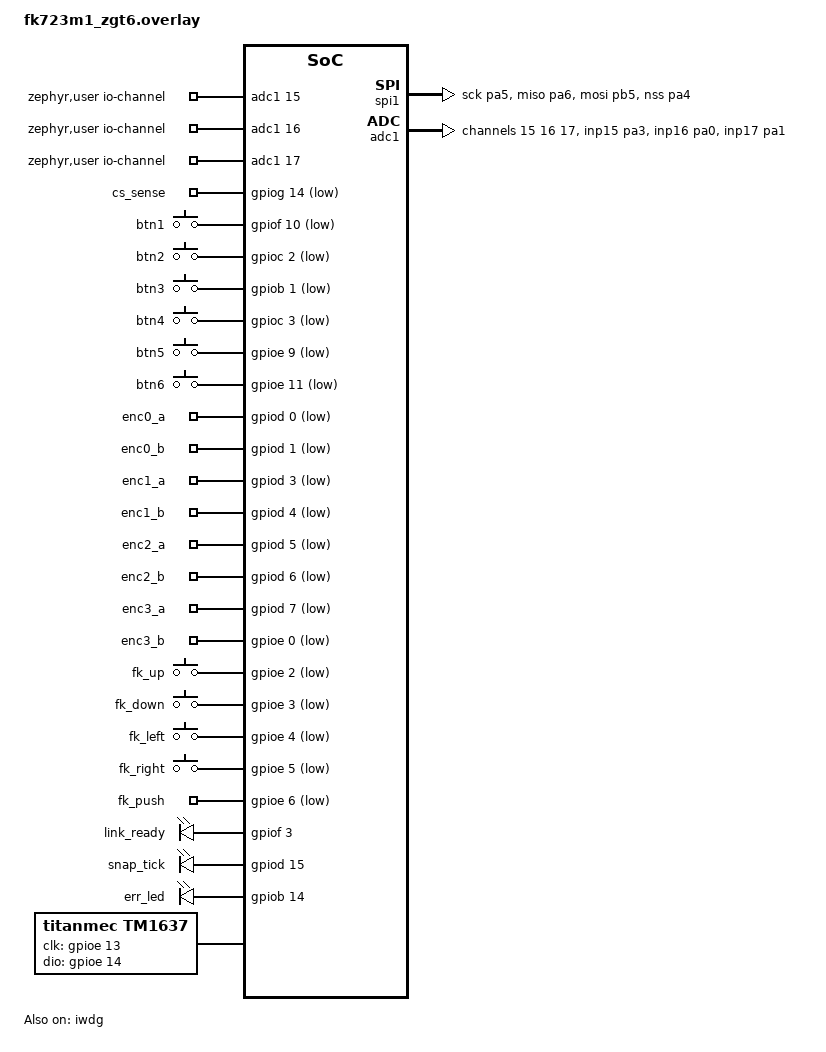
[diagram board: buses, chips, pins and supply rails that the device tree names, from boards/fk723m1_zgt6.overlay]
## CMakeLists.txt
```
#-------------------------------------------------------------------------------
# Rim firmware (DUT) - Zephyr Rim-Link implementation
#
# Copyright (c) 2026 Fanatec Wheel Project Contributors
# SPDX-License-Identifier: Apache-2.0

cmake_minimum_required(VERSION 3.13.1)

list(APPEND BOARD_ROOT ${CMAKE_CURRENT_SOURCE_DIR}/..)

find_package(Zephyr REQUIRED HINTS $ENV{ZEPHYR_BASE})

project(rim_app LANGUAGES C)

target_sources(app PRIVATE
	src/main.c
	src/link_spi.c
	src/input_svc.c
	src/output_svc.c
	src/diag_svc.c
	src/seg7.c
	src/dpad.c
	src/encoder.c
	src/funky.c
	src/clutch.c
	src/rim_settings.c
	src/lcd_svc.c
	src/lra_svc.c
	src/power_mgr.c
	src/rim_wdt.c
	src/health.c
)
target_sources_ifdef(CONFIG_RIM_TM1637 app PRIVATE src/tm1637.c)
target_include_directories(app PRIVATE src)

# Session attribution (spec 2-S3): git hash baked into the build.
execute_process(
	COMMAND git -C ${CMAKE_CURRENT_SOURCE_DIR} rev-parse --short HEAD
	OUTPUT_VARIABLE RIM_GIT_HASH OUTPUT_STRIP_TRAILING_WHITESPACE
	ERROR_QUIET)
if(NOT RIM_GIT_HASH)
	set(RIM_GIT_HASH "nogit")
endif()
execute_process(
	COMMAND git -C ${CMAKE_CURRENT_SOURCE_DIR} status --porcelain
	OUTPUT_VARIABLE RIM_GIT_DIRTY_RAW ERROR_QUIET)
if(RIM_GIT_DIRTY_RAW)
	set(RIM_GIT_HASH "${RIM_GIT_HASH}-dirty")
endif()
configure_file(${CMAKE_CURRENT_SOURCE_DIR}/src/session_info.h.in
	${CMAKE_CURRENT_BINARY_DIR}/generated/session_info.h)
target_include_directories(app PRIVATE ${CMAKE_CURRENT_BINARY_DIR}/generated)
```

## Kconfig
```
# Copyright (c) 2026 Fanatec Wheel Project Contributors
# SPDX-License-Identifier: Apache-2.0
#
# Application Kconfig entry point.

menu "Zephyr"
source "Kconfig.zephyr"
endmenu

module = APP
module-str = APP
source "subsys/logging/Kconfig.template.log_config"

config RIM_TM1637
	bool "Mirror display bytes to a TM1637 module"
	default n
	help
	  Optional display mirror (spec section 7). Requires the
	  TM1637 wired per the hardware spec; decode-to-shell works
	  without it.

config RIM_SHELL
	bool "Rim diagnostic shell"
	default y
	select SHELL
	help
	  Shell commands (rim mosi/miso/disp/btn/id/stats) reproducing the
	  reference sketch's serial command feature (spec section 4).

config RIM_FASTBOOT
	bool "Boot-deadline mode: link-first init, deferred services"
	default y
	help
	  (spec 2-S2): main() initializes only the fast path
	  (adapter seal -> SPI arm -> LINK_READY) and defers input/
	  output/diagnostic service init behind link readiness via the
	  system workqueue. Boot-to-ready is timestamped and reported
	  by the `rim boot` shell command for comparison against the
	  measured base first-poll deadline (>= 2x margin required).

config RIM_WATCHDOG
	bool "Watchdog fed from the input thread"
	select WATCHDOG
	help
	  Arms the hardware watchdog (100 ms) fed exclusively by the
	  input thread's 1 kHz tick (spec 4-S6). Default off on the
	  bench board to keep debugger sessions alive; production
	  builds enable it. Reset cause is captured via hwinfo.
```

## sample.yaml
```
# Twister entry for the rim firmware.
sample:
  description: Rim-side firmware (legacy 33-byte SPI link)
  name: rim-app
common:
  build_only: true
  integration_platforms:
    - fk723m1_zgt6
tests:
  app.rim.default: {}
```

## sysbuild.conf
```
# Verified boot (spec 5-S1): MCUboot chained before the app.
SB_CONFIG_BOOTLOADER_MCUBOOT=y
# ED25519 via MCUboot's bundled tinycrypt: no extra crypto module in
# the manifest. Dev signing key = MCUboot's root-ed25519.pem;
# production key management: docs/update-recovery.md.
SB_CONFIG_BOOT_SIGNATURE_TYPE_ED25519=y
```

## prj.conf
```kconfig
# Copyright (c) 2026 Fanatec Wheel Project Contributors
# SPDX-License-Identifier: Apache-2.0
#
# Rim firmware configuration (spec section 9).

# Rim-Link adapter v1
CONFIG_RIMLINK_LEGACY_SPI=y
CONFIG_RIM_IDENTITY=3

# Link transport: SPI peripheral (slave) mode
CONFIG_SPI=y
CONFIG_SPI_SLAVE=y
# TODO(perf): DMA + non-cacheable link buffers once devicetree
# dmas/dma-names are assigned and re-arm latency is measured (spec s.10)
# CONFIG_SPI_STM32_DMA=y
# CONFIG_NOCACHE_MEMORY=y

# Inputs
CONFIG_GPIO=y
CONFIG_ADC=y

# Settings schema v2 (spec 3-S5): NVS-backed persistence
CONFIG_FLASH=y
CONFIG_FLASH_MAP=y
CONFIG_NVS=y
CONFIG_SETTINGS=y
CONFIG_SETTINGS_NVS=y

# Diagnostics
CONFIG_LOG=y
CONFIG_LOG_MODE_DEFERRED=y   # structural fast-path protection (spec s.3.1)
CONFIG_LOG_DEFAULT_LEVEL=3
CONFIG_LOG_PRINTK=y
CONFIG_SHELL=y

# Instrumentation
CONFIG_TIMING_FUNCTIONS=y

# Race-display LCD (spec 4-S1): LVGL UI, enabled together with a
# `chosen zephyr,display` node in the overlay (PCB rev A):
CONFIG_DISPLAY=y
CONFIG_LVGL=y
CONFIG_LV_FONT_MONTSERRAT_48=y
CONFIG_LV_Z_MEM_POOL_SIZE=32768
# Note: The flash partition map has been expanded to 384 KiB slots.
# Since the full LVGL build is ~420 KiB, you must still prune unused
# LVGL widgets/themes (e.g. CONFIG_LV_USE_THEME_DEFAULT=n) to fit.
CONFIG_LV_USE_THEME_DEFAULT=n

# Reset-cause attribution (spec 4-S6 / health counters)
CONFIG_HWINFO=y
```

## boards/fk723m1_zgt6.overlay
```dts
/*
 * Copyright (c) 2026 Fanatec Wheel Project Contributors
 * SPDX-License-Identifier: Apache-2.0
 *
 * Rim firmware overlay for FK723M1-ZGT6 (STM32H723ZGT6).
 *
 * Pin plan follows the hardware spec section 5.2 (defined
 * against the same STM32H723ZG LQFP144 package): SPI1 on PA4-PA6/PB5,
 * CS-sense EXTI PG14, LINK_READY PF3, SNAPSHOT_TICK PD15, buttons
 * PF10/PC2/PB1/PC3/PE9/PE11, D-pad ADC PA3, TM1637 PE13/PE14.
 * Adjust to the actual bench wiring before bring-up.
 */

/* Legacy rim link: SPI1 peripheral (slave), Mode 1, hardware NSS. */
&spi1 {
	status = "okay";
	pinctrl-0 = <&spi1_sck_pa5 &spi1_miso_pa6
		     &spi1_mosi_pb5 &spi1_nss_pa4>;
	pinctrl-names = "default";
	/* TODO(perf): dmas/dma-names for full-frame DMA (only if measured
	 * re-arm latency needs it, spec s.10) */
};

/* Analog D-pad ladder on PA3 (ADC1 INP15). */
&adc1 {
	pinctrl-0 = <&adc1_inp15_pa3 &adc1_inp16_pa0 &adc1_inp17_pa1>;
	pinctrl-names = "default";
	st,adc-clock-source = "SYNC";
	st,adc-prescaler = <4>;
	status = "okay";

	#address-cells = <1>;
	#size-cells = <0>;

	channel@f {
		reg = <15>;
		zephyr,gain = "ADC_GAIN_1";
		zephyr,reference = "ADC_REF_INTERNAL";
		zephyr,acquisition-time = <ADC_ACQ_TIME_DEFAULT>;
		zephyr,resolution = <12>;
	};

	/* Hall clutch paddles (spec 3-S3): PA0/PA1. */
	channel@10 {
		reg = <16>;
		zephyr,gain = "ADC_GAIN_1";
		zephyr,reference = "ADC_REF_INTERNAL";
		zephyr,acquisition-time = <ADC_ACQ_TIME_DEFAULT>;
		zephyr,resolution = <12>;
	};

	channel@11 {
		reg = <17>;
		zephyr,gain = "ADC_GAIN_1";
		zephyr,reference = "ADC_REF_INTERNAL";
		zephyr,acquisition-time = <ADC_ACQ_TIME_DEFAULT>;
		zephyr,resolution = <12>;
	};
};

/* The board dts places storage on QSPI NOR; the rim keeps all state
 * on internal flash (no external-flash dependency in the boot path). */
/delete-node/ &storage_partition;

/* Flash partitions: MCUboot-ready layout (spec 5-S1/5-S2) +
 * 2-sector NVS settings storage (spec 3-S5).
 * STM32H723ZG: 8 x 128 KiB sectors. */
&flash0 {
	partitions {
		compatible = "fixed-partitions";
		#address-cells = <1>;
		#size-cells = <1>;

		boot_partition: partition@0 {
			label = "mcuboot";
			reg = <0x00000000 DT_SIZE_K(128)>;
		};
		slot0_partition: partition@20000 {
			label = "image-0";
			reg = <0x00020000 DT_SIZE_K(384)>;
		};
		slot1_partition: partition@80000 {
			label = "image-1";
			reg = <0x00080000 DT_SIZE_K(384)>;
		};
		storage_partition: partition@e0000 {
			label = "storage";
			reg = <0x000e0000 DT_SIZE_K(128)>;
		};
	};
};

/ {
	zephyr,user {
		/* 0: D-pad ladder, 1..2: Hall clutch paddles. */
		io-channels = <&adc1 15>, <&adc1 16>, <&adc1 17>;
	};

	rim_pins {
		compatible = "gpio-keys";

		/* CS-sense EXTI: same CS wire, second tap - mirrors the
		 * reference D2+D10 trick; re-arm at rising edge. */
		cs_sense: cs_sense {
			gpios = <&gpiog 14 GPIO_ACTIVE_LOW>;
		};

		/* Six DUT buttons, active-low, internal pull-ups
		 * (hardware spec section 5.2). */
		btn1: btn1 { gpios = <&gpiof 10 (GPIO_ACTIVE_LOW | GPIO_PULL_UP)>; };
		btn2: btn2 { gpios = <&gpioc 2  (GPIO_ACTIVE_LOW | GPIO_PULL_UP)>; };
		btn3: btn3 { gpios = <&gpiob 1  (GPIO_ACTIVE_LOW | GPIO_PULL_UP)>; };
		btn4: btn4 { gpios = <&gpioc 3  (GPIO_ACTIVE_LOW | GPIO_PULL_UP)>; };
		btn5: btn5 { gpios = <&gpioe 9  (GPIO_ACTIVE_LOW | GPIO_PULL_UP)>; };
		btn6: btn6 { gpios = <&gpioe 11 (GPIO_ACTIVE_LOW | GPIO_PULL_UP)>; };

		/* Quadrature encoders (spec 3-S1): 4 channels. */
		enc0_a: enc0_a { gpios = <&gpiod 0 (GPIO_ACTIVE_LOW | GPIO_PULL_UP)>; };
		enc0_b: enc0_b { gpios = <&gpiod 1 (GPIO_ACTIVE_LOW | GPIO_PULL_UP)>; };
		enc1_a: enc1_a { gpios = <&gpiod 3 (GPIO_ACTIVE_LOW | GPIO_PULL_UP)>; };
		enc1_b: enc1_b { gpios = <&gpiod 4 (GPIO_ACTIVE_LOW | GPIO_PULL_UP)>; };
		enc2_a: enc2_a { gpios = <&gpiod 5 (GPIO_ACTIVE_LOW | GPIO_PULL_UP)>; };
		enc2_b: enc2_b { gpios = <&gpiod 6 (GPIO_ACTIVE_LOW | GPIO_PULL_UP)>; };
		enc3_a: enc3_a { gpios = <&gpiod 7 (GPIO_ACTIVE_LOW | GPIO_PULL_UP)>; };
		enc3_b: enc3_b { gpios = <&gpioe 0 (GPIO_ACTIVE_LOW | GPIO_PULL_UP)>; };

		/* Funky switch (spec 3-S2): 4 dirs + push. */
		fk_up: fk_up { gpios = <&gpioe 2 (GPIO_ACTIVE_LOW | GPIO_PULL_UP)>; };
		fk_down: fk_down { gpios = <&gpioe 3 (GPIO_ACTIVE_LOW | GPIO_PULL_UP)>; };
		fk_left: fk_left { gpios = <&gpioe 4 (GPIO_ACTIVE_LOW | GPIO_PULL_UP)>; };
		fk_right: fk_right { gpios = <&gpioe 5 (GPIO_ACTIVE_LOW | GPIO_PULL_UP)>; };
		fk_push: fk_push { gpios = <&gpioe 6 (GPIO_ACTIVE_LOW | GPIO_PULL_UP)>; };
	};

	/* Timing test points + error latch (spec section 10 / LD3). */
	timing_pins {
		compatible = "gpio-leds";
		link_ready: link_ready { gpios = <&gpiof 3 GPIO_ACTIVE_HIGH>; };
		snap_tick: snap_tick { gpios = <&gpiod 15 GPIO_ACTIVE_HIGH>; };
		err_led: err_led { gpios = <&gpiob 14 GPIO_ACTIVE_HIGH>; };
	};

	/* Optional TM1637 display mirror (CONFIG_RIM_TM1637). */
	tm1637: tm1637 {
		compatible = "titanmec,tm1637";
		clk-gpios = <&gpioe 13 GPIO_ACTIVE_HIGH>;
		dio-gpios = <&gpioe 14 GPIO_ACTIVE_HIGH>;
	};
};

&iwdg {
	status = "okay";
};

/* Race-display LCD (spec 4-S1): lcd_svc renders an LVGL race screen
 * when a panel is chosen. */

/ {
	chosen {
		zephyr,display = &lcd0;
	};

	lcd0: dummy_display {
		compatible = "zephyr,dummy-dc";
		width = <320>;
		height = <240>;
	};
};
```

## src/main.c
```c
/*
 * Copyright (c) 2026 Fanatec Wheel Project Contributors
 * SPDX-License-Identifier: Apache-2.0
 *
 * Rim firmware entry point.
 *
 * Boot order (spec fig. 10-1, spec 2-S2): fast path
 * first - adapter frames sealed, SPI armed, LINK_READY raised - then
 * all non-link services. With CONFIG_RIM_FASTBOOT the non-link init
 * is deferred to the system workqueue so main() reaches link
 * readiness with nothing else in front of it.
 */

#include <zephyr/kernel.h>
#include <zephyr/logging/log.h>

#include <app_version.h>

#include <lib/rimlink/rimlink.h>

#include "link_spi.h"
#include "input_svc.h"
#include "output_svc.h"
#include "diag_svc.h"
#include "rim_settings.h"
#include "lcd_svc.h"
#include "lra_svc.h"
#include "power_mgr.h"
#include "rim_wdt.h"
#include "health.h"

LOG_MODULE_REGISTER(main, CONFIG_APP_LOG_LEVEL);

static void services_init(void)
{
	int ret;

	/* Settings load precedes acquisition (cal/map/mode consumers). */
	(void)rim_settings_init();

	ret = rim_wdt_init();
	if (ret < 0) {
		LOG_ERR("watchdog init failed (%d)", ret);
	}

	ret = lcd_svc_init();
	if (ret < 0) {
		LOG_ERR("lcd_svc init failed (%d)", ret);
	}

	ret = lra_svc_init();
	if (ret < 0) {
		LOG_ERR("lra_svc init failed (%d)", ret);
	}

	ret = power_mgr_init();
	if (ret < 0) {
		LOG_ERR("power_mgr init failed (%d)", ret);
	}

	ret = output_svc_init();
	if (ret < 0) {
		LOG_ERR("output_svc init failed (%d)", ret);
	}

	ret = input_svc_init();
	if (ret < 0) {
		LOG_ERR("input_svc init failed (%d)", ret);
	}

	(void)health_init();

	ret = diag_svc_init();
	if (ret < 0) {
		LOG_ERR("diag_svc init failed (%d)", ret);
	}

	LOG_INF("services running");
}

#ifdef CONFIG_RIM_FASTBOOT
static void deferred_init_handler(struct k_work *work)
{
	ARG_UNUSED(work);
	services_init();
}
static K_WORK_DEFINE(deferred_init_work, deferred_init_handler);
#endif

int main(void)
{
	int ret;

	/* 1. Fast path only: adapter sealed, SPI peripheral armed,
	 *    LINK_READY (t1) raised inside link_spi_init(). */
	const struct rimlink_cfg cfg = {
		.rx_cb = output_svc_rx,
	};

	(void)rimlink_init(&cfg);

	ret = link_spi_init();
	if (ret < 0) {
		LOG_ERR("link init failed (%d)", ret);
	}

	printk("Rim-Link firmware %s (identity 0x%02x, fastboot %s)\n",
	       APP_VERSION_STRING, CONFIG_RIM_IDENTITY,
	       IS_ENABLED(CONFIG_RIM_FASTBOOT) ? "on" : "off");

	/* 2. Everything else, behind link readiness. */
#ifdef CONFIG_RIM_FASTBOOT
	k_work_submit(&deferred_init_work);
#else
	services_init();
#endif

	return 0;
}
```

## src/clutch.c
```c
/*
 * Copyright (c) 2026 Fanatec Wheel Project Contributors
 * SPDX-License-Identifier: Apache-2.0
 *
 * Hall clutch pipeline + dual-clutch logic (spec 3-S3 / 3-S4).
 */

#include <zephyr/sys/util.h>

#include "clutch.h"

#define PADDLE_ACTIVE_THR 32 /* 0..255: paddle considered pulled */

void clutch_chan_init(struct clutch_chan *c, const struct clutch_cal *cal)
{
	*c = (struct clutch_chan){0};
	c->cal = *cal;
	c->iir_shift = 2;      /* y += (x-y)/4 */
	c->rate_limit = 64;    /* max out step per 1 ms sample */
	c->rail_lo = 64;       /* raw below = open circuit (12-bit) */
	c->rail_hi = 4030;     /* raw above = short to rail */
}

static uint16_t median3(uint16_t a, uint16_t b, uint16_t c)
{
	uint16_t lo = MIN(a, MIN(b, c));
	uint16_t hi = MAX(a, MAX(b, c));

	return (uint16_t)(a + b + c - lo - hi);
}

uint8_t clutch_chan_feed(struct clutch_chan *c, uint16_t raw)
{
	/* Plausibility: out-of-rail windows (open/short, spec 3-S3). */
	c->diag &= (uint8_t)~(CLUTCH_DIAG_OPEN | CLUTCH_DIAG_SHORT);
	if (raw < c->rail_lo) {
		c->diag |= CLUTCH_DIAG_OPEN;
	} else if (raw > c->rail_hi) {
		c->diag |= CLUTCH_DIAG_SHORT;
	}

	/* Median-of-3 spike rejection. */
	c->med[c->med_i] = raw;
	c->med_i = (uint8_t)((c->med_i + 1U) % 3U);

	uint16_t m = median3(c->med[0], c->med[1], c->med[2]);

	/* IIR low-pass. */
	c->iir = (uint16_t)(c->iir + ((int32_t)m - c->iir) /
			    (1 << c->iir_shift));

	/* Calibration with guard bands (spec 3-S3). */
	uint16_t lo = c->cal.min + c->cal.guard;
	uint16_t hi = (c->cal.max > c->cal.guard) ?
		      (uint16_t)(c->cal.max - c->cal.guard) : 0U;
	uint32_t out255;

	if (hi <= lo) {
		out255 = 0; /* invalid calibration -> safe zero */
	} else if (c->iir <= lo) {
		out255 = 0;
	} else if (c->iir >= hi) {
		out255 = 255;
	} else {
		out255 = ((uint32_t)(c->iir - lo) * 255U) / (hi - lo);
	}

	/* Deadzone. */
	if (out255 <= c->cal.deadzone) {
		out255 = 0;
	}

	/* Rate-of-change plausibility: flag, then slew-limit. */
	int32_t step = (int32_t)out255 - c->out_prev;

	c->diag &= (uint8_t)~CLUTCH_DIAG_RATE;
	if (step > c->rate_limit || step < -(int32_t)c->rate_limit) {
		c->diag |= CLUTCH_DIAG_RATE;
		out255 = (step > 0) ? c->out_prev + c->rate_limit
				    : c->out_prev - c->rate_limit;
	}

	c->out_prev = (uint8_t)out255;
	c->out = (uint8_t)out255;
	return c->out;
}

void dual_clutch_init(struct dual_clutch *d, enum clutch_mode mode,
		      uint8_t bite_point)
{
	*d = (struct dual_clutch){ .mode = mode, .bite_point = bite_point };
}

uint8_t dual_clutch_combine(struct dual_clutch *d, uint8_t c0, uint8_t c1)
{
	switch (d->mode) {
	case CLUTCH_MODE_AXES:
		return c0; /* axes published separately in the snapshot */
	case CLUTCH_MODE_MAPPED:
		return 0;  /* paddles feed buttons via threshold */
	case CLUTCH_MODE_BITE:
	default:
		break;
	}

	bool p0 = c0 > PADDLE_ACTIVE_THR;
	bool p1 = c1 > PADDLE_ACTIVE_THR;

	if (!p0 && !p1) {
		d->launch = false;
		return 0;
	}

	if (p0 != p1) {
		/* Single paddle: direct value; it becomes the master. */
		d->master = p0 ? 0U : 1U;
		d->launch = false;
		return p0 ? c0 : c1;
	}

	/* Both pulled: launch armed - output follows the deeper paddle,
	 * and the master releasing to (or below) the bite point holds
	 * output at the bite point until the second paddle releases. */
	d->launch = true;

	uint8_t master_val = (d->master == 0U) ? c0 : c1;

	return MAX(master_val, d->bite_point);
}
```

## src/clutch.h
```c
/*
 * Copyright (c) 2026 Fanatec Wheel Project Contributors
 * SPDX-License-Identifier: Apache-2.0
 */

#ifndef APP_SRC_CLUTCH_H_
#define APP_SRC_CLUTCH_H_

#include <stdbool.h>
#include <stdint.h>

/**
 * Hall clutch pipeline (spec 3-S3) and dual-clutch logic (3-S4).
 * Per channel: median-of-3 -> IIR -> min/max calibration with guard
 * bands -> deadzone -> 0..255; plausibility checks (rate limit,
 * open/short via out-of-rail windows) raise diag flags.
 */

#define CLUTCH_CHANNELS 2

/* Diag flags (spec 3.1 snapshot.diag). */
#define CLUTCH_DIAG_RATE BIT(0)   /* rate-of-change implausible */
#define CLUTCH_DIAG_OPEN BIT(1)   /* below open-circuit rail window */
#define CLUTCH_DIAG_SHORT BIT(2)  /* above short-to-rail window */

struct clutch_cal {
	uint16_t min;        /* raw at released, plus guard band */
	uint16_t max;        /* raw at fully pulled, minus guard band */
	uint16_t guard;      /* guard band, raw counts */
	uint8_t deadzone;    /* output deadzone, 0..255 domain */
};

struct clutch_chan {
	struct clutch_cal cal;
	uint16_t med[3];     /* median-of-3 window */
	uint8_t med_i;
	uint16_t iir;        /* filtered raw (Q0) */
	uint8_t iir_shift;   /* y += (x - y) >> shift */
	uint8_t out;         /* calibrated 0..255 */
	uint8_t out_prev;
	uint16_t rate_limit; /* max output change per sample */
	uint16_t rail_lo;    /* below = open */
	uint16_t rail_hi;    /* above = short */
	uint8_t diag;        /* CLUTCH_DIAG_* */
};

/** Dual-clutch modes (spec 3-S4), mirroring the public Fanatec paddle
 *  modes surfaced by hid-fanatecff (`Community implementation`). */
enum clutch_mode {
	CLUTCH_MODE_BITE = 0, /* bite-point combined (default) */
	CLUTCH_MODE_AXES,     /* two independent axes */
	CLUTCH_MODE_MAPPED,   /* paddles act as mappable buttons */
};

struct dual_clutch {
	enum clutch_mode mode;
	uint8_t bite_point;  /* 0..255 */
	bool launch;         /* bite-point state machine armed */
	uint8_t master;      /* which paddle went down first */
};

void clutch_chan_init(struct clutch_chan *c, const struct clutch_cal *cal);

/** Feed one raw ADC sample; returns calibrated 0..255 output. */
uint8_t clutch_chan_feed(struct clutch_chan *c, uint16_t raw);

void dual_clutch_init(struct dual_clutch *d, enum clutch_mode mode,
		      uint8_t bite_point);

/**
 * Combine the two calibrated paddles per the active mode
 * (spec 3-S4 semantics, documented in the unit tests):
 *  - BITE: first paddle pulled = master at 100 %; while the second is
 *    also pulled, releasing the master holds output at the bite point;
 *    releasing the second paddle too returns to direct master value.
 *  - AXES: returns paddle 0 (both delivered separately via snapshot).
 *  - MAPPED: analog output 0 (paddles feed buttons via threshold).
 */
uint8_t dual_clutch_combine(struct dual_clutch *d, uint8_t c0, uint8_t c1);

#endif /* APP_SRC_CLUTCH_H_ */
```

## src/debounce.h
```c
/*
 * Copyright (c) 2026 Fanatec Wheel Project Contributors
 * SPDX-License-Identifier: Apache-2.0
 */

#ifndef APP_SRC_DEBOUNCE_H_
#define APP_SRC_DEBOUNCE_H_

#include <stdbool.h>
#include <stdint.h>

/**
 * Per-button 2-sample debounce (spec section 6): the debounced state
 * changes only after two consecutive equal raw samples (2 ms at the
 * 1 kHz tick).
 */
struct debounce {
	bool state; /* debounced state */
	bool prev;  /* previous raw sample */
};

static inline bool debounce_feed(struct debounce *d, bool raw)
{
	if (raw == d->prev && raw != d->state) {
		d->state = raw;
	}
	d->prev = raw;
	return d->state;
}

#endif /* APP_SRC_DEBOUNCE_H_ */
```

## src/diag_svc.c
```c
/*
 * Copyright (c) 2026 Fanatec Wheel Project Contributors
 * SPDX-License-Identifier: Apache-2.0
 *
 * Diagnostics (spec sections 3/4): counters, shell, heartbeat.
 *
 * The shell reproduces the reference sketch's serial-command feature
 * ('i', 'o', 'd', A/B/C + 1..7) as structured commands, sufficient to
 * drive the documented base menu sequences (e.g. toggling bit 22
 * enters the base setup menu; center calibration via 22,6,18/19,...)
 * without physical buttons.
 */

#include <stdlib.h>

#include <zephyr/kernel.h>
#include <zephyr/devicetree.h>
#include <zephyr/drivers/gpio.h>
#include <zephyr/logging/log.h>
#include <zephyr/shell/shell.h>

#include <string.h>

#include <lib/rimlink/rimlink.h>
#include <lib/rimlink/rimlink_capture.h>

#include <app_version.h>
#include "session_info.h"

#include "diag_svc.h"
#include "link_spi.h"
#include "input_svc.h"
#include "rim_settings.h"
#include "health.h"
#include "output_svc.h"

LOG_MODULE_REGISTER(diag_svc, CONFIG_APP_LOG_LEVEL);

/* Session attribution (spec 2-S3): every capture must be attributable
 * to {build, identity, config, base firmware as logged manually}. */
static char session_base_fw[32] = "unset";

static void session_header_emit(void)
{
	LOG_INF("session: fw=%s git=%s id=0x%02x cfg=[fastboot:%d capture:%d "
		"tm1637:%d] base_fw=%s",
		APP_VERSION_STRING, RIM_GIT_HASH, rimlink_identity_get(),
		IS_ENABLED(CONFIG_RIM_FASTBOOT),
		IS_ENABLED(CONFIG_RIMLINK_CAPTURE),
		IS_ENABLED(CONFIG_RIM_TM1637), session_base_fw);
}

/* Heartbeat on the board's user LED (LD1-equivalent). */
#define HB_NODE DT_ALIAS(led0)
#define HAVE_HB DT_NODE_EXISTS(HB_NODE)
#if HAVE_HB
static const struct gpio_dt_spec hb_led = GPIO_DT_SPEC_GET(HB_NODE, gpios);
static void hb_work_handler(struct k_work *work);
static K_WORK_DELAYABLE_DEFINE(hb_work, hb_work_handler);

static void hb_work_handler(struct k_work *work)
{
	ARG_UNUSED(work);
	(void)gpio_pin_toggle_dt(&hb_led);
	k_work_schedule(&hb_work, K_MSEC(500));
}
#endif

#ifdef CONFIG_RIM_SHELL

static void print_frame(const struct shell *sh, const char *tag,
			const uint8_t f[RIMLINK_FRAME_LEN])
{
	shell_fprintf(sh, SHELL_NORMAL, "%s:", tag);
	for (unsigned int i = 0; i < RIMLINK_FRAME_LEN; i++) {
		shell_fprintf(sh, SHELL_NORMAL, "0x%02X ", f[i]);
	}
	shell_fprintf(sh, SHELL_NORMAL, "\n");
}

/* rim mosi - reference 'i': print the last base -> rim frame. */
static int cmd_rim_mosi(const struct shell *sh, size_t argc, char **argv)
{
	uint8_t rx[RIMLINK_FRAME_LEN];

	ARG_UNUSED(argc);
	ARG_UNUSED(argv);
	rimlink_frames_snapshot(NULL, rx);
	print_frame(sh, "MOSI", rx);
	return 0;
}

/* rim miso - reference 'o': print the armed rim -> base frame. */
static int cmd_rim_miso(const struct shell *sh, size_t argc, char **argv)
{
	uint8_t tx[RIMLINK_FRAME_LEN];

	ARG_UNUSED(argc);
	ARG_UNUSED(argv);
	rimlink_frames_snapshot(tx, NULL);
	print_frame(sh, "MISO", tx);
	return 0;
}

/* rim disp - reference 'd': current alphanumeric text. */
static int cmd_rim_disp(const struct shell *sh, size_t argc, char **argv)
{
	char text[16];

	ARG_UNUSED(argc);
	ARG_UNUSED(argv);
	output_svc_disp_text(text);
	shell_print(sh, "disp: \"%s\"", text);
	return 0;
}

/* rim btn set|clr|toggle <bit 1..22> - reference A/B/C + 1..8. */
static int cmd_rim_btn(const struct shell *sh, size_t argc, char **argv)
{
	int bit = atoi(argv[2]);

	if (bit < 1 || bit > RIMLINK_BUTTON_BITS) {
		shell_error(sh, "bit must be 1..%u", RIMLINK_BUTTON_BITS);
		return -EINVAL;
	}
	if (strcmp(argv[1], "set") == 0) {
		input_svc_manual_bit(bit, true);
	} else if (strcmp(argv[1], "clr") == 0) {
		input_svc_manual_bit(bit, false);
	} else if (strcmp(argv[1], "toggle") == 0) {
		input_svc_manual_toggle(bit);
	} else {
		shell_error(sh, "use: rim btn set|clr|toggle <bit>");
		return -EINVAL;
	}
	shell_print(sh, "manual bits: 0x%06X", input_svc_manual_get());
	return 0;
}

/* rim map [idx bit] - runtime button-map reconfiguration. */
static int cmd_rim_map(const struct shell *sh, size_t argc, char **argv)
{
	if (argc == 3) {
		int idx = atoi(argv[1]);
		int bit = atoi(argv[2]);

		if (input_svc_map_set(idx, bit) < 0) {
			shell_error(sh, "idx 0..%d, bit 1..%u",
				    INPUT_NUM_BUTTONS - 1,
				    RIMLINK_BUTTON_BITS);
			return -EINVAL;
		}
	}
	shell_fprintf(sh, SHELL_NORMAL, "button map:");
	for (unsigned int i = 0; i < INPUT_NUM_BUTTONS; i++) {
		shell_fprintf(sh, SHELL_NORMAL, " %u", input_svc_map_get(i));
	}
	shell_fprintf(sh, SHELL_NORMAL, "\n");
	return 0;
}

/* rim id [1..4] */
static int cmd_rim_id(const struct shell *sh, size_t argc, char **argv)
{
	if (argc == 2) {
		int id = atoi(argv[1]);

		if (id < RIM_ID_BMW_GT2 || id > RIM_ID_UNIHUB) {
			shell_error(sh, "id must be 1..4");
			return -EINVAL;
		}
		rimlink_identity_set((enum rim_id)id);
	}
	shell_print(sh, "rim identity: 0x%02x", rimlink_identity_get());
	return 0;
}

/* rim dpad [t1..t7 hyst] */
static int cmd_rim_dpad(const struct shell *sh, size_t argc, char **argv)
{
	if (argc == 9) {
		uint16_t thr[7];

		for (int i = 0; i < 7; i++) {
			thr[i] = (uint16_t)atoi(argv[1 + i]);
		}
		if (input_svc_dpad_cal(thr, (uint16_t)atoi(argv[8])) < 0) {
			shell_error(sh, "thresholds must descend");
			return -EINVAL;
		}
	}
	shell_print(sh, "dpad position: %u", input_svc_dpad_pos());
	return 0;
}


/* rim boot - boot-to-ready measurement (spec 2-S2). */
static int cmd_rim_boot(const struct shell *sh, size_t argc, char **argv)
{
	ARG_UNUSED(argc);
	ARG_UNUSED(argv);

	uint32_t us = link_spi_boot_ready_us();

	if (us == 0) {
		shell_print(sh, "link not yet armed");
	} else {
		shell_print(sh, "boot-to-ready: %u us "
			    "(base first-poll margin: measurement pending)",
			    us);
	}
	return 0;
}

/* rim session [base <string>] - session header (spec 2-S3). */
static int cmd_rim_session(const struct shell *sh, size_t argc, char **argv)
{
	if (argc == 3 && strcmp(argv[1], "base") == 0) {
		strncpy(session_base_fw, argv[2],
			sizeof(session_base_fw) - 1);
		session_base_fw[sizeof(session_base_fw) - 1] = '\0';
	}
	session_header_emit();
	shell_print(sh, "session: fw=%s git=%s id=0x%02x base_fw=%s",
		    APP_VERSION_STRING, RIM_GIT_HASH,
		    rimlink_identity_get(), session_base_fw);
	return 0;
}

#ifdef CONFIG_RIMLINK_CAPTURE
/* rim cap start|stop|freeze|dump|status [auto on|off] (spec 2-S1). */
static int cmd_rim_cap(const struct shell *sh, size_t argc, char **argv)
{
	struct rimlink_cap_status st;

	if (strcmp(argv[1], "start") == 0) {
		rimlink_cap_start();
	} else if (strcmp(argv[1], "stop") == 0) {
		rimlink_cap_stop();
	} else if (strcmp(argv[1], "freeze") == 0) {
		rimlink_cap_freeze();
	} else if (strcmp(argv[1], "auto") == 0 && argc == 3) {
		rimlink_cap_freeze_on_anomaly(strcmp(argv[2], "on") == 0);
	} else if (strcmp(argv[1], "dump") == 0) {
		struct rimlink_cap_entry e;
		uint32_t i = 0;

		/* One line per entry: parseable by ring_diff.py. */
		while (rimlink_cap_read(i, &e) == 0) {
			shell_fprintf(sh, SHELL_NORMAL,
				      "CAP,%u,%u,%s,%u,%u,", i, e.timestamp,
				      (e.dir == RIMLINK_CAP_TX) ? "TX" : "RX",
				      e.crc_ok, e.cs_gap_us);
			for (int b = 0; b < RIMLINK_FRAME_LEN; b++) {
				shell_fprintf(sh, SHELL_NORMAL, "%02X",
					      e.frame[b]);
			}
			shell_fprintf(sh, SHELL_NORMAL, "\n");
			i++;
		}
		shell_print(sh, "CAPEND,%u", i);
		return 0;
	} else if (strcmp(argv[1], "status") != 0) {
		shell_error(sh, "use: rim cap start|stop|freeze|dump|status|auto on|off");
		return -EINVAL;
	}

	rimlink_cap_status_get(&st);
	shell_print(sh, "cap: armed=%d frozen=%d auto-freeze=%d "
		    "recorded=%u depth=%u", st.armed, st.frozen,
		    st.freeze_on_anomaly, st.recorded, st.depth);
	return 0;
}
#endif /* CONFIG_RIMLINK_CAPTURE */


/* rim clutch [mode 0..2] [bite 0..255] - dual-clutch (spec 3-S4). */
static int cmd_rim_clutch(const struct shell *sh, size_t argc, char **argv)
{
	struct rim_settings *st = rim_settings_get();

	if (argc == 3) {
		if (input_svc_clutch_mode_set(
			    (uint8_t)atoi(argv[1]),
			    (uint8_t)atoi(argv[2])) < 0) {
			shell_error(sh, "mode 0..2 (bite/axes/mapped)");
			return -EINVAL;
		}
	}

	struct input_v2_state v2;

	input_svc_v2_state_get(&v2);
	shell_print(sh, "mode=%u bite=%u c0=%u c1=%u combined=%u "
		    "diag=[%02x %02x]", st->clutch_mode, st->bite_point,
		    v2.clutch[0], v2.clutch[1], v2.clutch_combined,
		    v2.clutch_diag[0], v2.clutch_diag[1]);
	return 0;
}

/* rim input - extended v2 fabric state (spec s.3.1). */
static int cmd_rim_input(const struct shell *sh, size_t argc, char **argv)
{
	struct input_v2_state v2;

	ARG_UNUSED(argc);
	ARG_UNUSED(argv);
	input_svc_v2_state_get(&v2);
	shell_print(sh, "enc: %d %d %d %d (illegal %u %u %u %u)",
		    v2.enc_delta[0], v2.enc_delta[1], v2.enc_delta[2],
		    v2.enc_delta[3], v2.enc_illegal[0], v2.enc_illegal[1],
		    v2.enc_illegal[2], v2.enc_illegal[3]);
	shell_print(sh, "funky: dir=%u push=%d faults=%u",
		    v2.funky_dir, v2.funky_push, v2.funky_faults);
	shell_print(sh, "clutch: %u %u combined=%u diag=[%02x %02x]",
		    v2.clutch[0], v2.clutch[1], v2.clutch_combined,
		    v2.clutch_diag[0], v2.clutch_diag[1]);
	return 0;
}

/* rim save cal|map|mode - persist settings (spec 3-S5, diag context). */
static int cmd_rim_save(const struct shell *sh, size_t argc, char **argv)
{
	ARG_UNUSED(argc);

	int ret = rim_settings_commit(argv[1]);

	if (ret == -EACCES) {
		shell_error(sh, "config locked (rim lock off to unlock)");
	} else if (ret != 0) {
		shell_error(sh, "commit failed (%d)", ret);
	} else {
		shell_print(sh, "saved rim/%s", argv[1]);
	}
	return ret;
}


/* rim health - persisted counters (spec 5-S3). */
static int cmd_rim_health(const struct shell *sh, size_t argc, char **argv)
{
	struct health_counters h;

	ARG_UNUSED(argc);
	ARG_UNUSED(argv);
	health_get(&h);
	shell_print(sh, "power_cycles=%u mate=%u txn=%llu err=%llu "
		    "wdt_resets=%u thermal=%u", h.power_cycles,
		    h.mate_events, (unsigned long long)h.txn_total,
		    (unsigned long long)h.err_total, h.wdt_resets,
		    h.thermal_events);
	return 0;
}

/* rim lock on|off|status - config write protect (spec 5-S5). */
static int cmd_rim_lock(const struct shell *sh, size_t argc, char **argv)
{
	struct rim_settings *st = rim_settings_get();

	if (argc == 2 && strcmp(argv[1], "status") != 0) {
		st->locked = (strcmp(argv[1], "on") == 0);
		int ret = rim_settings_commit("lock");

		if (ret != 0) {
			shell_error(sh, "lock persist failed (%d)", ret);
			return ret;
		}
	}
	shell_print(sh, "config lock: %s (cal/map/mode writes %s)",
		    st->locked ? "ON" : "off",
		    st->locked ? "rejected" : "allowed");
	return 0;
}

static int cmd_rim_stats(const struct shell *sh, size_t argc, char **argv)
{
	struct rimlink_stats s;
	struct output_stats o;
	uint32_t p99, max;

	ARG_UNUSED(argc);
	ARG_UNUSED(argv);
	rimlink_stats_get(&s);
	output_svc_stats_get(&o);
	input_svc_latency_get(&p99, &max);

	shell_print(sh, "txn:          %u", s.txn_count);
	shell_print(sh, "crc_err_rx:   %u", s.crc_err_rx);
	shell_print(sh, "short_frame:  %u", s.short_frame);
	shell_print(sh, "rearm_miss:   %u", s.rearm_miss);
	shell_print(sh, "overrun:      %u", s.overrun);
	shell_print(sh, "stale_clear:  %u", s.stale_clear);
	shell_print(sh, "cs_gap us:    min %u max %u",
		    (s.cs_gap_min_us == UINT32_MAX) ? 0 : s.cs_gap_min_us,
		    s.cs_gap_max_us);
	shell_print(sh, "snap lat us:  p99 %u max %u", p99, max);
	shell_print(sh, "leds_last:    0x%04X (%u changes)",
		    o.leds_last, o.leds_changes);
	shell_print(sh, "rumble_last:  %02X %02X (%u changes)",
		    o.rumble_last[0], o.rumble_last[1], o.rumble_changes);
	shell_print(sh, "disp_changes: %u", o.disp_changes);
	return 0;
}

static int cmd_rim_stats_reset(const struct shell *sh, size_t argc,
			       char **argv)
{
	ARG_UNUSED(argc);
	ARG_UNUSED(argv);
	rimlink_stats_reset();
	shell_print(sh, "counters reset");
	return 0;
}

SHELL_STATIC_SUBCMD_SET_CREATE(sub_rim,
	SHELL_CMD(mosi, NULL, "print last base->rim frame ('i')", cmd_rim_mosi),
	SHELL_CMD(miso, NULL, "print armed rim->base frame ('o')", cmd_rim_miso),
	SHELL_CMD(disp, NULL, "current display text ('d')", cmd_rim_disp),
	SHELL_CMD_ARG(btn, NULL, "set|clr|toggle <bit 1..22>", cmd_rim_btn, 3, 0),
	SHELL_CMD_ARG(map, NULL, "[idx bit] show/set button map", cmd_rim_map, 1, 2),
	SHELL_CMD_ARG(id, NULL, "[1..4] get/set rim identity", cmd_rim_id, 1, 1),
	SHELL_CMD_ARG(dpad, NULL, "[t1..t7 hyst] dpad cal/status", cmd_rim_dpad, 1, 8),
	SHELL_CMD_ARG(clutch, NULL, "[mode bite] dual-clutch", cmd_rim_clutch, 1, 2),
	SHELL_CMD(input, NULL, "v2 fabric state", cmd_rim_input),
	SHELL_CMD_ARG(save, NULL, "cal|map|mode persist settings", cmd_rim_save, 2, 0),
	SHELL_CMD(health, NULL, "persisted health counters", cmd_rim_health),
	SHELL_CMD_ARG(lock, NULL, "on|off|status config lock", cmd_rim_lock, 1, 1),
	SHELL_CMD(boot, NULL, "boot-to-ready measurement", cmd_rim_boot),
	SHELL_CMD_ARG(session, NULL, "[base <str>] session header", cmd_rim_session, 1, 2),
#ifdef CONFIG_RIMLINK_CAPTURE
	SHELL_CMD_ARG(cap, NULL, "start|stop|freeze|dump|status|auto", cmd_rim_cap, 2, 1),
#endif
	SHELL_CMD(stats, NULL, "link statistics", cmd_rim_stats),
	SHELL_CMD(reset, NULL, "reset counters", cmd_rim_stats_reset),
	SHELL_SUBCMD_SET_END
);
SHELL_CMD_REGISTER(rim, &sub_rim, "Rim-link diagnostics", NULL);

#endif /* CONFIG_RIM_SHELL */

int diag_svc_init(void)
{
#if HAVE_HB
	if (gpio_is_ready_dt(&hb_led)) {
		(void)gpio_pin_configure_dt(&hb_led, GPIO_OUTPUT_INACTIVE);
		k_work_schedule(&hb_work, K_MSEC(500));
	}
#endif
	session_header_emit();
	LOG_INF("diagnostics ready");
	return 0;
}
```

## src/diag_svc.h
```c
/*
 * Copyright (c) 2026 Fanatec Wheel Project Contributors
 * SPDX-License-Identifier: Apache-2.0
 */

#ifndef APP_SRC_DIAG_SVC_H_
#define APP_SRC_DIAG_SVC_H_

/**
 * @brief Diagnostics: counters, shell, timing test points.
 *
 * Spec sections 3 and 4: shell commands `rim mosi`, `rim miso`,
 * `rim disp`, `rim btn set/clr <bit>`, `rim id <n>`, `rim stats` -
 * reproducing the reference serial-command feature so base menu
 * sequences can be exercised without physical buttons.
 */

int diag_svc_init(void);

#endif /* APP_SRC_DIAG_SVC_H_ */
```

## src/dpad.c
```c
/*
 * Copyright (c) 2026 Fanatec Wheel Project Contributors
 * SPDX-License-Identifier: Apache-2.0
 *
 * Analog D-pad ladder decode with hysteresis (spec section 6),
 * ported from the reference sketch's readButtons()/dPadBitChange().
 */

#include <string.h>

#include <lib/rimlink/rimlink.h>

#include "dpad.h"

/*
 * Default calibration: the reference 10-bit / 5 V thresholds
 * {933, 763, 639, 505, 299, 164, 72} scaled x4 to the 12-bit DUT ADC.
 * The bench-measured ladder values replace these via `rim dpad cal`
 * (hardware spec section 5.2 note).
 */
static const uint16_t default_thr[DPAD_THRESHOLDS] = {
	3732, 3052, 2556, 2020, 1196, 656, 288
};

#define DPAD_DEFAULT_HYST 40 /* raw counts */

void dpad_init(struct dpad_decoder *d, const uint16_t *thr, uint16_t hyst)
{
	memcpy(d->thr, (thr != NULL) ? thr : default_thr, sizeof(d->thr));
	d->hyst = (hyst != 0U) ? hyst : DPAD_DEFAULT_HYST;
	d->cur = 0;
}

static uint8_t window_of(const struct dpad_decoder *d, uint16_t raw)
{
	for (uint8_t i = 0; i < DPAD_THRESHOLDS; i++) {
		if (raw > d->thr[i]) {
			return i;
		}
	}
	return DPAD_THRESHOLDS; /* position 7: D-pad button */
}

uint8_t dpad_decode(struct dpad_decoder *d, uint16_t raw)
{
	uint8_t next = window_of(d, raw);

	if (next == d->cur) {
		return d->cur;
	}

	/* Hysteresis: only leave the current window when the sample
	 * clears the boundary between cur and next by more than hyst. */
	uint8_t boundary = (next > d->cur) ? d->cur : next;
	uint16_t thr = d->thr[boundary];
	uint16_t dist = (raw > thr) ? (uint16_t)(raw - thr)
				    : (uint16_t)(thr - raw);

	if (dist > d->hyst) {
		d->cur = next;
	}

	return d->cur;
}

void dpad_apply_bits(uint32_t *buttons, uint8_t pos, bool on)
{
	switch (pos) {
	case 0: /* idle */
		break;
	case 1: /* right */
		rimlink_button_bit_change(buttons, RIM_BIT_DPAD_RIGHT, on);
		break;
	case 2: /* left */
		rimlink_button_bit_change(buttons, RIM_BIT_DPAD_LEFT, on);
		break;
	case 3: /* left+right: calibrate wheel center */
		rimlink_button_bit_change(buttons, RIM_BIT_DPAD_BUTTON, on);
		rimlink_button_bit_change(buttons, RIM_BIT_JOYSTICK_BUTTON, on);
		break;
	case 4: /* down */
		rimlink_button_bit_change(buttons, RIM_BIT_DPAD_DOWN, on);
		break;
	case 5: /* up */
		rimlink_button_bit_change(buttons, RIM_BIT_DPAD_UP, on);
		break;
	case 6: /* up+down: menu */
		rimlink_button_bit_change(buttons, RIM_BIT_MENU, on);
		break;
	case 7: /* D-pad button */
		rimlink_button_bit_change(buttons, RIM_BIT_DPAD_BUTTON, on);
		break;
	default:
		break;
	}
}
```

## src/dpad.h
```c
/*
 * Copyright (c) 2026 Fanatec Wheel Project Contributors
 * SPDX-License-Identifier: Apache-2.0
 */

#ifndef APP_SRC_DPAD_H_
#define APP_SRC_DPAD_H_

#include <stdbool.h>
#include <stdint.h>

/**
 * Analog D-pad ladder decode (reference readButtons() analog section):
 * seven descending thresholds partition the ADC range into eight
 * positions:
 *   0 idle, 1 right, 2 left, 3 left+right (center-cal), 4 down,
 *   5 up, 6 up+down (menu), 7 D-pad button.
 */
#define DPAD_POSITIONS 8
#define DPAD_THRESHOLDS 7

struct dpad_decoder {
	/* Descending thresholds, raw ADC counts (calibration table). */
	uint16_t thr[DPAD_THRESHOLDS];
	/* Hysteresis band around each threshold, raw counts. */
	uint16_t hyst;
	uint8_t cur; /* current decoded position */
};

/** Initialize with a calibration table (or NULL for defaults) */
void dpad_init(struct dpad_decoder *d, const uint16_t *thr, uint16_t hyst);

/**
 * Feed one raw sample; returns the (possibly unchanged) position.
 * Position changes only when the sample clears the boundary by more
 * than the hysteresis band - readings inside a band keep the previous
 * position (spec section 6: "windows with hysteresis").
 */
uint8_t dpad_decode(struct dpad_decoder *d, uint16_t raw);

/**
 * Map a D-pad position to logical button-bit changes (reference
 * dPadBitChange()): applies @p on to the bits belonging to @p pos in
 * @p buttons.
 */
void dpad_apply_bits(uint32_t *buttons, uint8_t pos, bool on);

#endif /* APP_SRC_DPAD_H_ */
```

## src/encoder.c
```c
/*
 * Copyright (c) 2026 Fanatec Wheel Project Contributors
 * SPDX-License-Identifier: Apache-2.0
 *
 * Quadrature transition-table decoder (spec 3-S1).
 *
 * Index = (prev_ab << 2) | ab. Values: +1/-1 valid quarter steps,
 * 0 no movement, +2 sentinel for illegal double transitions (both
 * lines changed in one sample - counted per channel, never counted
 * as movement; zero-loss at maximum hand rate is bounded by the
 * 1 kHz sample rate >> hand-detent rate).
 */

#include "encoder.h"

#define ILLEGAL 2

/* CW = Gray sequence 00 -> 01 -> 11 -> 10 -> 00 counts positive. */
static const int8_t transition[16] = {
	 0, +1, -1, ILLEGAL,
	-1,  0, ILLEGAL, +1,
	+1, ILLEGAL,  0, -1,
	ILLEGAL, -1, +1,  0,
};

void encoder_init(struct encoder *e, uint8_t ab, uint8_t detent_div)
{
	e->prev_ab = ab & 3U;
	e->accum = 0;
	e->delta = 0;
	e->illegal = 0;
	e->detent_div = (detent_div == 0U) ? 4U : detent_div;
}

void encoder_feed(struct encoder *e, uint8_t ab)
{
	int8_t step = transition[((e->prev_ab & 3U) << 2) | (ab & 3U)];

	e->prev_ab = ab & 3U;

	if (step == ILLEGAL) {
		e->illegal++;
		return;
	}

	e->accum += step;

	/* One detent = detent_div quarter steps. */
	while (e->accum >= e->detent_div) {
		e->accum -= e->detent_div;
		if (e->delta < INT8_MAX) {
			e->delta++;
		}
	}
	while (e->accum <= -(int16_t)e->detent_div) {
		e->accum += e->detent_div;
		if (e->delta > INT8_MIN) {
			e->delta--;
		}
	}
}

int8_t encoder_consume(struct encoder *e)
{
	int8_t d = (int8_t)e->delta;

	e->delta = 0;
	return d;
}
```

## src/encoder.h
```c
/*
 * Copyright (c) 2026 Fanatec Wheel Project Contributors
 * SPDX-License-Identifier: Apache-2.0
 */

#ifndef APP_SRC_ENCODER_H_
#define APP_SRC_ENCODER_H_

#include <stdint.h>

/**
 * Quadrature encoder decoder (spec 3-S1): full transition-table
 * decode - no interrupt-per-edge counting reaches the logic. Sampled
 * at the 1 kHz input tick; detents accumulate into a saturating int8
 * delta consumed atomically at snapshot compose.
 */

#define ENCODER_CHANNELS 4

struct encoder {
	uint8_t prev_ab;     /* previous 2-bit A/B state */
	int16_t accum;       /* sub-detent transition accumulator */
	int16_t delta;       /* detents since last consume (saturated) */
	uint32_t illegal;    /* illegal (double-step) transitions */
	uint8_t detent_div;  /* transitions per detent (typ. 4) */
};

/** Initialize with the current A/B level and detent divider (0 -> 4). */
void encoder_init(struct encoder *e, uint8_t ab, uint8_t detent_div);

/** Feed one A/B sample (bit0 = A, bit1 = B). */
void encoder_feed(struct encoder *e, uint8_t ab);

/** Consume the accumulated detent delta (saturating int8), reset it. */
int8_t encoder_consume(struct encoder *e);

#endif /* APP_SRC_ENCODER_H_ */
```

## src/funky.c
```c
/*
 * Copyright (c) 2026 Fanatec Wheel Project Contributors
 * SPDX-License-Identifier: Apache-2.0
 *
 * Funky-switch decoder (spec 3-S2).
 */

#include <zephyr/sys/util.h>

#include "funky.h"

void funky_init(struct funky *f)
{
	*f = (struct funky){0};
}

void funky_feed(struct funky *f, uint8_t dir_mask, bool push)
{
	dir_mask &= 0x0FU;

	/* Directions: 2-sample debounce on the mask as a unit, so a
	 * direction change and a push never cross-couple. */
	if (dir_mask == f->dir_raw_prev && dir_mask != f->dir_stable) {
		f->dir_stable = dir_mask;
	}
	f->dir_raw_prev = dir_mask;

	/* Push: independent 2-sample debounce (spec 3-S2). */
	if (push == f->push_raw_prev && push != f->push_stable) {
		f->push_stable = push;
	}
	f->push_raw_prev = push;

	/* Opposite chords are electrically impossible on a healthy
	 * funky switch: fault, not input. */
	bool chord = ((f->dir_stable & (FUNKY_M_UP | FUNKY_M_DOWN)) ==
		      (FUNKY_M_UP | FUNKY_M_DOWN)) ||
		     ((f->dir_stable & (FUNKY_M_LEFT | FUNKY_M_RIGHT)) ==
		      (FUNKY_M_LEFT | FUNKY_M_RIGHT));

	if (chord && !f->fault) {
		f->fault_count++;
	}
	f->fault = chord;
}

enum funky_dir funky_dir_get(const struct funky *f)
{
	if (f->fault) {
		return FUNKY_IDLE;
	}
	switch (f->dir_stable) {
	case FUNKY_M_UP:
		return FUNKY_UP;
	case FUNKY_M_DOWN:
		return FUNKY_DOWN;
	case FUNKY_M_LEFT:
		return FUNKY_LEFT;
	case FUNKY_M_RIGHT:
		return FUNKY_RIGHT;
	default:
		return FUNKY_IDLE; /* idle or non-opposite diagonal */
	}
}
```

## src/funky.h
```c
/*
 * Copyright (c) 2026 Fanatec Wheel Project Contributors
 * SPDX-License-Identifier: Apache-2.0
 */

#ifndef APP_SRC_FUNKY_H_
#define APP_SRC_FUNKY_H_

#include <stdbool.h>
#include <stdint.h>

/**
 * Funky-switch / 7-way decoder (spec 3-S2): four direction contacts +
 * push, direct GPIO. Directions and push debounce independently;
 * opposite directions simultaneously = wiring/contact fault, reported
 * as a diag flag and NOT as an input.
 */

enum funky_dir {
	FUNKY_IDLE = 0,
	FUNKY_UP,
	FUNKY_DOWN,
	FUNKY_LEFT,
	FUNKY_RIGHT,
};

struct funky {
	uint8_t dir_raw_prev;   /* previous raw direction mask */
	uint8_t dir_stable;     /* debounced direction mask */
	bool push_raw_prev;
	bool push_stable;
	bool fault;             /* opposite-chord fault latched this sample */
	uint32_t fault_count;
};

/** Direction mask bits. */
#define FUNKY_M_UP BIT(0)
#define FUNKY_M_DOWN BIT(1)
#define FUNKY_M_LEFT BIT(2)
#define FUNKY_M_RIGHT BIT(3)

void funky_init(struct funky *f);

/**
 * Feed one sample: @p dir_mask of FUNKY_M_* raw contacts, @p push raw.
 * 2-sample debounce on each, independently (spec 3-S2).
 */
void funky_feed(struct funky *f, uint8_t dir_mask, bool push);

/** Current debounced direction (chords resolve to FUNKY_IDLE + fault). */
enum funky_dir funky_dir_get(const struct funky *f);

static inline bool funky_push_get(const struct funky *f)
{
	return f->push_stable;
}

#endif /* APP_SRC_FUNKY_H_ */
```

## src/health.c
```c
/*
 * Copyright (c) 2026 Fanatec Wheel Project Contributors
 * SPDX-License-Identifier: Apache-2.0
 *
 * Health counters (spec 5-S3).
 *
 * Sampling model: a 60 s diag-context work item folds the rimlink
 * stats deltas into the persisted totals and commits. The commit
 * volume is one small settings record per minute - NVS wear at this
 * rate is decades on the 256 KiB storage partition.
 */

#include <zephyr/kernel.h>
#include <zephyr/logging/log.h>
#include <zephyr/settings/settings.h>

#include <lib/rimlink/rimlink.h>

#include "health.h"
#include "rim_wdt.h"

#ifdef CONFIG_HWINFO
#include <zephyr/drivers/hwinfo.h>
#define WDT_CAUSE RESET_WATCHDOG
#else
#define WDT_CAUSE 0
#endif

LOG_MODULE_REGISTER(health, CONFIG_APP_LOG_LEVEL);

#define HEALTH_COMMIT_PERIOD K_SECONDS(60)

static struct health_counters hc;
static struct rimlink_stats last;
static struct k_work_delayable commit_work;

static int health_set(const char *key, size_t len,
		      settings_read_cb read_cb, void *cb_arg)
{
	if (strcmp(key, "counters") == 0 && len == sizeof(hc) &&
	    read_cb(cb_arg, &hc, len) >= 0) {
		return 0;
	}
	return -ENOENT;
}

SETTINGS_STATIC_HANDLER_DEFINE(rim_health, "rimh", NULL, health_set,
			       NULL, NULL);

static void fold_stats(void)
{
	struct rimlink_stats now;

	rimlink_stats_get(&now);
	hc.txn_total += now.txn_count - last.txn_count;
	hc.err_total += (now.crc_err_rx - last.crc_err_rx) +
			(now.short_frame - last.short_frame) +
			(now.overrun - last.overrun);
	last = now;
}

int health_commit(void)
{
	fold_stats();
	return settings_save_one("rimh/counters", &hc, sizeof(hc));
}

static void commit_handler(struct k_work *work)
{
	ARG_UNUSED(work);
	(void)health_commit();
	k_work_reschedule(&commit_work, HEALTH_COMMIT_PERIOD);
}

void health_get(struct health_counters *h)
{
	fold_stats();
	*h = hc;
}

void health_note_mate(void)
{
	hc.mate_events++;
}

int health_init(void)
{
	/* Loaded by rim_settings_init()'s settings_load_subtree? No -
	 * separate subtree: load it here (diag context, boot path). */
	int ret = settings_load_subtree("rimh");

	hc.power_cycles++;
	if (rim_wdt_reset_cause() & WDT_CAUSE) {
		hc.wdt_resets++;
	}

	k_work_init_delayable(&commit_work, commit_handler);
	k_work_reschedule(&commit_work, HEALTH_COMMIT_PERIOD);
	LOG_INF("health: boot #%u, wdt resets %u", hc.power_cycles,
		hc.wdt_resets);
	return ret;
}
```
